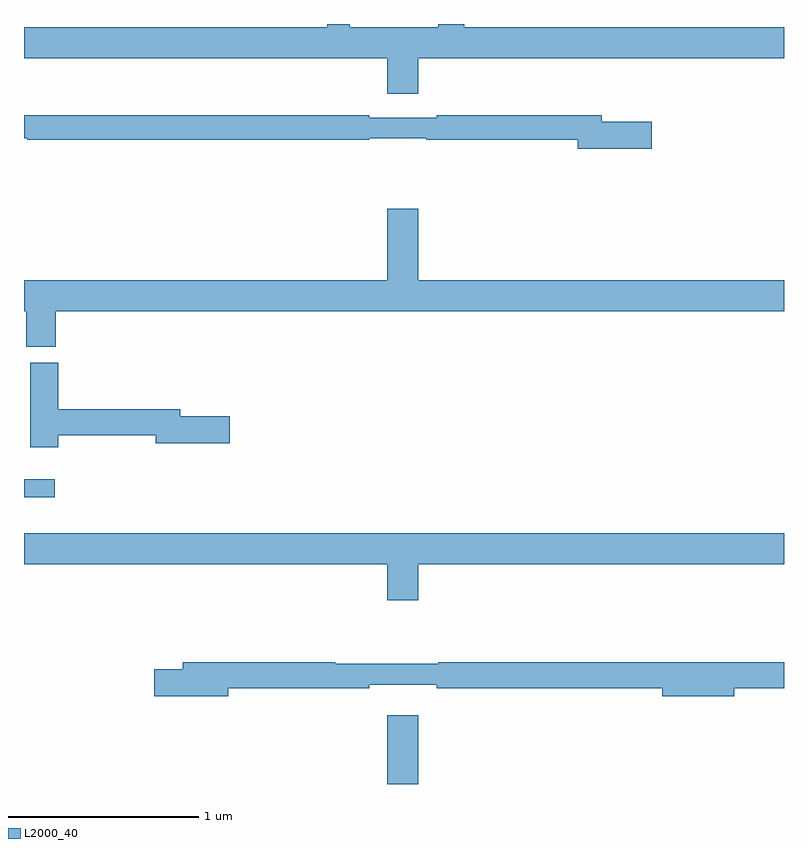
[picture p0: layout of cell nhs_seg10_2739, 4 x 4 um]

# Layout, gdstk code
import gdstk
lib = gdstk.Library(unit=1e-6, precision=1e-09)
def R(c, l, rs):  # rectangles x0, y0, x1, y1
    for r in rs: c.add(gdstk.rectangle(r[:2], r[2:], *l))
def P(c, l, *ps):  # polygons
    for p in ps: c.add(gdstk.Polygon(p, *l))
L2000_40 = (2000, 40)

nhs_seg10_2739 = lib.new_cell('nhs_seg10_2739')
R(nhs_seg10_2739, L2000_40, [(260.912,1292.5,261.076,1292.863), (259,1294.008,259.162,1294.104)])
P(nhs_seg10_2739, L2000_40, [(261.076,1296.32),(263,1296.32),(263,1296.484),(261.317,1296.484),(261.317,1296.5),(261.181,1296.5),(261.181,1296.484),(260.714,1296.484),(260.714,1296.5),(260.597,1296.5),(260.597,1296.484),(259,1296.484),(259,1296.32),(260.912,1296.32),(260.912,1296.132),(261.076,1296.132)],
  [(262.303,1295.985),(262.042,1295.985),(262.042,1296.019),(261.172,1296.019),(261.172,1296.006),(260.816,1296.006),(260.816,1296.019),(259,1296.019),(259,1295.898),(259.018,1295.898),(259.018,1295.89),(260.818,1295.89),(260.818,1295.898),(261.118,1295.898),(261.118,1295.89),(261.914,1295.89),(261.914,1295.843),(262.303,1295.843)],
  [(259.166,1294.988),(263,1294.988),(263,1295.152),(261.076,1295.152),(261.076,1295.527),(260.912,1295.527),(260.912,1295.152),(259,1295.152),(259,1294.988),(259.013,1294.988),(259.013,1294.801),(259.166,1294.801)],
  [(259.181,1294.336),(259.694,1294.336),(259.694,1294.294),(260.083,1294.294),(260.083,1294.436),(259.822,1294.436),(259.822,1294.472),(259.181,1294.472),(259.181,1294.716),(259.034,1294.716),(259.034,1294.272),(259.181,1294.272)],
  [(261.076,1293.656),(263,1293.656),(263,1293.82),(259,1293.82),(259,1293.656),(260.912,1293.656),(260.912,1293.468),(261.076,1293.468)],
  [(260.074,1293.004),(260.816,1293.004),(260.816,1293.023),(261.172,1293.023),(261.172,1293.004),(262.358,1293.004),(262.358,1292.962),(262.738,1292.962),(262.738,1293.004),(263,1293.004),(263,1293.14),(261.18,1293.14),(261.18,1293.133),(260.639,1293.133),(260.639,1293.14),(259.835,1293.14),(259.835,1293.104),(259.686,1293.104),(259.686,1292.962),(260.074,1292.962)])

lib.write_gds('nhs_seg10_2739.gds')
